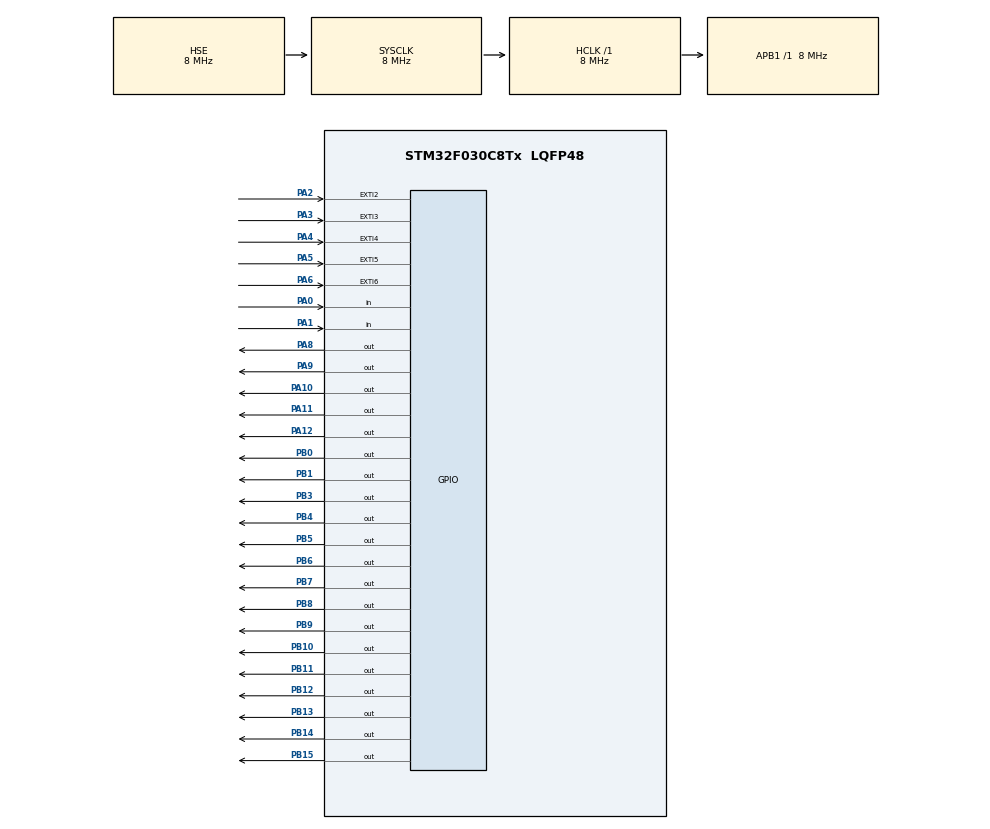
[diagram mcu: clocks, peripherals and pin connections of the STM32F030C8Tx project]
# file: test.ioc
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Mcu.Family=STM32F0
Mcu.Name=STM32F030C8Tx
Mcu.Package=LQFP48
NVIC.EXTI2_3_IRQn=true\:0\:0\:true\:false\:true\:true\:true
NVIC.EXTI4_15_IRQn=true\:0\:0\:true\:false\:true\:true\:true
NVIC.TIM3_IRQn=true\:0\:0\:true\:false\:true\:true\:true
NVIC.TIM6_IRQn=true\:0\:0\:true\:false\:true\:true\:true
PA0.GPIO_PuPd=GPIO_PULLDOWN
PA0.Signal=GPIO_Input
PA1.GPIO_PuPd=GPIO_PULLDOWN
PA1.Signal=GPIO_Input
PA10.GPIO_PuPd=GPIO_NOPULL
PA10.GPIO_Speed=GPIO_SPEED_FREQ_MEDIUM
PA10.Signal=GPIO_Output
PA11.GPIO_PuPd=GPIO_PULLDOWN
PA11.GPIO_Speed=GPIO_SPEED_FREQ_MEDIUM
PA11.Signal=GPIO_Output
PA12.GPIO_PuPd=GPIO_PULLDOWN
PA12.GPIO_Speed=GPIO_SPEED_FREQ_MEDIUM
PA12.Signal=GPIO_Output
PA13.Mode=Serial_Wire
PA13.Signal=SYS_SWDIO
PA14.Mode=Serial_Wire
PA14.Signal=SYS_SWCLK
PA2.GPIO_ModeDefaultEXTI=GPIO_MODE_IT_RISING_FALLING
PA2.GPIO_PuPd=GPIO_NOPULL
PA2.Signal=GPXTI2
PA3.GPIO_ModeDefaultEXTI=GPIO_MODE_IT_RISING_FALLING
PA3.Signal=GPXTI3
PA4.GPIO_ModeDefaultEXTI=GPIO_MODE_IT_RISING_FALLING
PA4.Signal=GPXTI4
PA5.GPIO_ModeDefaultEXTI=GPIO_MODE_IT_RISING_FALLING
PA5.Signal=GPXTI5
PA6.GPIO_ModeDefaultEXTI=GPIO_MODE_IT_RISING_FALLING
PA6.Signal=GPXTI6
PA8.GPIO_PuPd=GPIO_NOPULL
PA8.GPIO_Speed=GPIO_SPEED_FREQ_MEDIUM
PA8.PinState=GPIO_PIN_RESET
PA8.Signal=GPIO_Output
PA9.GPIO_PuPd=GPIO_NOPULL
PA9.GPIO_Speed=GPIO_SPEED_FREQ_MEDIUM
PA9.Signal=GPIO_Output
PB0.GPIO_Speed=GPIO_SPEED_FREQ_LOW
PB0.PinState=GPIO_PIN_SET
PB0.Signal=GPIO_Output
PB1.PinState=GPIO_PIN_SET
PB1.Signal=GPIO_Output
PB10.PinState=GPIO_PIN_SET
PB10.Signal=GPIO_Output
PB11.Signal=GPIO_Output
PB12.Signal=GPIO_Output
PB13.Signal=GPIO_Output
PB14.GPIO_PuPd=GPIO_NOPULL
PB14.GPIO_Speed=GPIO_SPEED_FREQ_LOW
PB14.Signal=GPIO_Output
PB15.GPIO_PuPd=GPIO_NOPULL
PB15.GPIO_Speed=GPIO_SPEED_FREQ_LOW
PB15.Signal=GPIO_Output
PB3.PinState=GPIO_PIN_SET
PB3.Signal=GPIO_Output
PB4.PinState=GPIO_PIN_SET
PB4.Signal=GPIO_Output
PB5.PinState=GPIO_PIN_SET
PB5.Signal=GPIO_Output
PB6.PinState=GPIO_PIN_SET
PB6.Signal=GPIO_Output
PB7.PinState=GPIO_PIN_SET
PB7.Signal=GPIO_Output
PB8.PinState=GPIO_PIN_SET
PB8.Signal=GPIO_Output
PB9.PinState=GPIO_PIN_SET
PB9.Signal=GPIO_Output
PF0-OSC_IN.Mode=HSE-External-Oscillator
PF0-OSC_IN.Signal=RCC_OSC_IN
PF1-OSC_OUT.Mode=HSE-External-Oscillator
PF1-OSC_OUT.Signal=RCC_OSC_OUT
ProjectManager.HeapSize=0x200
ProjectManager.StackSize=0x400
ProjectManager.TargetToolchain=STM32CubeIDE
RCC.AHBFreq_Value=8000000
RCC.APB1Freq_Value=8000000
RCC.APB1TimFreq_Value=8000000
RCC.HCLKFreq_Value=8000000
RCC.PLLMUL=RCC_PLL_MUL4
RCC.SYSCLKFreq_VALUE=8000000
RCC.SYSCLKSource=RCC_SYSCLKSOURCE_HSE
TIM3.Period=9
TIM3.Prescaler=799
TIM6.Period=1000
TIM6.Prescaler=8000
VP_TIM3_VS_ClockSourceINT.Mode=Internal
VP_TIM6_VS_ClockSourceINT.Mode=Enable_Timer
board=custom

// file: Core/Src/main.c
/* USER CODE BEGIN Header */
/**
  ******************************************************************************
  * @file           : main.c
  * @brief          : Main program body
  ******************************************************************************
  * @attention
  *
  * <h2><center>&copy; Copyright (c) 2020 STMicroelectronics.
  * All rights reserved.</center></h2>
  *
  * This software component is licensed by ST under BSD 3-Clause license,
  * the "License"; You may not use this file except in compliance with the
  * License. You may obtain a copy of the License at:
  *                        opensource.org/licenses/BSD-3-Clause
  *
  ******************************************************************************
  */
/* USER CODE END Header */

#include "main.h"

/* USER CODE BEGIN Includes */
#include  "stm32f0xx_it.h"
#include "controller.h"
/* USER CODE END Includes */

TIM_HandleTypeDef htim3;
TIM_HandleTypeDef htim6;

/* USER CODE BEGIN PV */

extern uint8_t clr_button_flag;
extern uint8_t ocb_button_flag;
extern uint8_t ro_button_flag;
extern uint8_t cto_button_flag;
extern uint8_t pp1_button_flag;
extern uint8_t water_input_flag;
extern uint8_t pump_status_flag;
extern uint8_t end_display_flag;
extern uint8_t seven_segment_switch_flag;
extern uint8_t led_fan_flag;
extern uint8_t led_tank_full_flag;
extern uint8_t led_tank_full_flag_off;
extern uint8_t blink_flag;
extern uint8_t lock_end_dislay_flag;
extern uint8_t out_time_machine_flag;
extern uint8_t PP_Out_Time_Flag;
extern uint8_t OCB_Out_Time_Flag;
extern uint8_t CTO_Out_Time_Flag;
extern uint8_t RO_Out_Time_Flag;
extern uint8_t erro_dislay_flag_off;
extern uint8_t watch_Dog_Flag;

extern uint8_t dislay_erro_trigger;
extern uint8_t PP_Out_Time_Flag_off;
extern uint8_t PP_Out_Time_Trigger_off;
extern uint8_t OCB_Out_Time_Flag_off;
extern uint8_t OCB_Out_Time_Trigger_off;
extern uint8_t CTO_Out_Time_Flag_off;
extern uint8_t CTO_Out_Time_Trigger_off;
extern uint8_t RO_Out_Time_Flag_off;
extern uint8_t RO_Out_Time_Trigger_off;
extern uint8_t Machine_Time_Flag_off;
extern uint8_t Machine_Time_Trigger_off;
extern uint8_t Water_low_trigger_off;
extern uint8_t Water_low_Flag_off;
extern uint8_t erro_dislay_trigger;
extern uint8_t watch_Dog_Trigger;
extern uint8_t watch_Dog_Flag;
extern uint8_t out_time_machine_trigger;
extern uint8_t Write_Flash_flag;

uint32_t 	RO_time  ;
uint32_t 	CTO_time ;
uint32_t	PP1_time ;
uint32_t	OCB_time ;
uint32_t    Machine_time_run;
uint32_t	write_data;
uint8_t		CTO_time_p[3];
uint8_t 	RO_time_p[3];
uint8_t		PP1_time_p[3];
uint8_t		OCB_time_p[3];
uint8_t 	dislay_status_erro_cnt;

GPIO_TypeDef *(fan_led_port[10])={
	LED_C1_PORT,
	LED_C2_PORT,
	LED_C3_PORT,
	LED_C4_PORT,
	LED_C5_PORT,
	LED_C6_PORT,
	LED_C7_PORT,
	LED_C8_PORT,
	LED_C9_PORT,
	LED_C10_PORT
};

uint32_t fan_led_pin[10]={
	LED_C1_PIN,
	LED_C2_PIN,
	LED_C3_PIN,
	LED_C4_PIN,
	LED_C5_PIN,
	LED_C6_PIN,
	LED_C7_PIN,
	LED_C8_PIN,
	LED_C9_PIN,
	LED_C10_PIN
};
/* USER CODE END PV */

void SystemClock_Config(void);
static void MX_GPIO_Init(void);
static void MX_TIM3_Init(void);
static void MX_TIM6_Init(void);
/* USER CODE BEGIN PFP */
void display(void);
void on_end_display(uint8_t*);
void display_erro(void);
void led_fan_action(uint8_t*);
void led_tanks_full(void);
void out_time_fillter(void);
void clear_timer_fillter(void);
void write_Flash_Timer(void);

/* USER CODE END PFP */

/* USER CODE BEGIN 0 */
uint8_t test[3]={L_L,L_O,L_I};
uint8_t ro_alarm[3]={L_BLANK,L_R,L_O};
uint8_t out_time_Machine[3]={L_C, L_FIVE, L_H};
uint8_t out_time_PP[3]={L_P, L_P, L_ONE};
uint8_t out_time_ocb[3] = {L_U, L_D, L_F};
uint8_t out_time_cto[3] = {L_P, L_P, L_TWO};
uint8_t out_time_ro[3] = {L_R, L_O, L_BLANK};
uint8_t	blank_time[3] = {L_BLANK, L_BLANK, L_BLANK};

void check_out_time_machine(){
	if((out_time_machine_trigger)&&(HAL_GPIO_ReadPin(PUMP_STATUS_PORT, PUMP_STATUS_PIN))){
			Machine_time_run ++;
			out_time_machine_trigger = 0 ;
			write_data ++;

		}else
		if((!HAL_GPIO_ReadPin(PUMP_STATUS_PORT, PUMP_STATUS_PIN))){
			(Machine_time_run = 0);
			out_time_machine_trigger =0;
	}
}
// write da sua phai lai xem co lưu khong !!!
void write_Flash_Timer(){
	if (Write_Flash_flag&&((!HAL_GPIO_ReadPin(PUMP_STATUS_PORT, PUMP_STATUS_PIN)||(write_data==30)))){

		Write_Flash_flag = 0;
		write_data =0;
		Ghi_data(0x08007000, 0x08007FFF);

	}

}
void display (){
	if (cto_button_flag) {
		erro_dislay_trigger = 0;
//		CTO_time_p = time_to_array(CTO_time);
		Controller_Display_Mess(CTO_time_p,&seven_segment_switch_flag,&end_display_flag);
	}else if(ro_button_flag){

//		RO_time_p = time_to_array(RO_time);
		erro_dislay_trigger = 0;
		Controller_Display_Mess(RO_time_p,&seven_segment_switch_flag,&end_display_flag);
	}else if (ocb_button_flag) {

//		OCB_time_p = time_to_array(OCB_time);
		erro_dislay_trigger = 0;
		Controller_Display_Mess(OCB_time_p,&seven_segment_switch_flag,&end_display_flag);
	}else if (pp1_button_flag) {

//		PP1_time_p = time_to_array(PP1_time);
		erro_dislay_trigger = 0;
		Controller_Display_Mess(PP1_time_p, &seven_segment_switch_flag,&end_display_flag);
	}
}

void clear_timer_fillter(){
	if(clr_button_flag&&pp1_button_flag) {
			if((HAL_GPIO_ReadPin(PP1_BUTTON_PORT, PP1_BUTTON_PIN))&& (HAL_GPIO_ReadPin(CLR_BUTTON_PORT, CLR_BUTTON_PIN))){
				PP1_time = 0;
				clr_button_flag =0;
				pp1_button_flag =0;
				time_to_array(PP1_time,PP1_time_p);
				Ghi_data(0x08007000, 0x08007FFF);

			}
		}
	if(clr_button_flag&&ocb_button_flag) {
				if((HAL_GPIO_ReadPin(OCB_BUTTON_PORT, OCB_BUTTON_PIN))&& (HAL_GPIO_ReadPin(CLR_BUTTON_PORT, CLR_BUTTON_PIN))){
					OCB_time = 0;
					clr_button_flag = 0;
					ocb_button_flag = 0;
					time_to_array(OCB_time,OCB_time_p);
					Ghi_data(0x08007000, 0x08007FFF);

				}
		}
	if(clr_button_flag&&cto_button_flag) {
				if((HAL_GPIO_ReadPin(CTO_BUTTON_PORT, CTO_BUTTON_PIN))&& (HAL_GPIO_ReadPin(CLR_BUTTON_PORT, CLR_BUTTON_PIN))){
					CTO_time = 0;
					cto_button_flag =0;
					clr_button_flag =0;
					time_to_array(CTO_time,CTO_time_p);
					Ghi_data(0x08007000, 0x08007FFF);

				}
		}
	if(clr_button_flag&&ro_button_flag) {
				if((HAL_GPIO_ReadPin(RO_BUTTON_PORT, RO_BUTTON_PIN))&& (HAL_GPIO_ReadPin(CLR_BUTTON_PORT, CLR_BUTTON_PIN))){
					RO_time = 0;
					ro_button_flag=0;
					clr_button_flag = 0;
					time_to_array(RO_time,RO_time_p);
					Ghi_data(0x08007000, 0x08007FFF);

				}
		}
}

void display_erro (){

	if  ((HAL_GPIO_ReadPin(WARTER_INPUT_PORT, WARTER_INPUT_PIN))) {
					water_input_flag=0;
					water_input_flag =0;
					Water_low_Flag_off =0;
					Water_low_trigger_off =0;
				}

		if ((PP_Out_Time_Flag)&&!(pp1_button_flag||ocb_button_flag||cto_button_flag||ro_button_flag)){
					PP_Out_Time_Trigger_off =1;
					end_display_flag =0;
				Controller_Display_Mess(out_time_PP, &seven_segment_switch_flag,&end_display_flag);
				if (PP_Out_Time_Flag_off){
					PP_Out_Time_Flag =0;
					PP_Out_Time_Trigger_off=0;
					PP_Out_Time_Flag_off = 0;
				}
			}

		if ((!(PP_Out_Time_Flag))&&(OCB_Out_Time_Flag)&&!(pp1_button_flag||ocb_button_flag||cto_button_flag||ro_button_flag)){
					OCB_Out_Time_Trigger_off =1;
					end_display_flag =0;
				Controller_Display_Mess(out_time_ocb, &seven_segment_switch_flag,&end_display_flag);
				if (OCB_Out_Time_Flag_off){
					OCB_Out_Time_Flag =0;
					OCB_Out_Time_Trigger_off=0;
					OCB_Out_Time_Flag_off = 0;
				}
			}

		if ((!OCB_Out_Time_Flag)&&(!PP_Out_Time_Flag)&&(CTO_Out_Time_Flag)&&!(pp1_button_flag||ocb_button_flag||cto_button_flag||ro_button_flag)){
					end_display_flag =0;
					CTO_Out_Time_Trigger_off =1;
				Controller_Display_Mess(out_time_cto, &seven_segment_switch_flag,&end_display_flag);
				if (CTO_Out_Time_Flag_off){
					CTO_Out_Time_Flag =0;
					CTO_Out_Time_Trigger_off=0;
					CTO_Out_Time_Flag_off = 0;
					}
				}

		if ((!OCB_Out_Time_Flag)&&(!PP_Out_Time_Flag)&&(!CTO_Out_Time_Flag)&&(RO_Out_Time_Flag)&&!(pp1_button_flag||ocb_button_flag||cto_button_flag||ro_button_flag)){
					RO_Out_Time_Trigger_off =1;
					end_display_flag =0;
				Controller_Display_Mess(out_time_ro, &seven_segment_switch_flag,&end_display_flag);
				if (RO_Out_Time_Flag_off){
					RO_Out_Time_Flag =0;
					RO_Out_Time_Trigger_off=0;
					RO_Out_Time_Flag_off = 0;
				}
			}

		if ((!OCB_Out_Time_Flag)&&(!PP_Out_Time_Flag)&&(!CTO_Out_Time_Flag)&&(!RO_Out_Time_Flag)&&water_input_flag&&!(pp1_button_flag||ocb_button_flag||cto_button_flag||ro_button_flag)) {
							Water_low_trigger_off = 1;
							end_display_flag = 0;
					Controller_Display_Mess(test,&seven_segment_switch_flag,&end_display_flag);
						if (Water_low_Flag_off) {
							water_input_flag =0;
							Water_low_Flag_off =0;
							Water_low_trigger_off =0;
						}
					}

		if ((!OCB_Out_Time_Flag)&&(!water_input_flag)&&(!PP_Out_Time_Flag)&&(!CTO_Out_Time_Flag)&&(!RO_Out_Time_Flag)&&out_time_machine_flag&&!(pp1_button_flag||ocb_button_flag||cto_button_flag||ro_button_flag)) {
						Machine_Time_Trigger_off = 1;
						end_display_flag = 0;

				Controller_Display_Mess(out_time_Machine,&seven_segment_switch_flag,&end_display_flag);
				if (Machine_Time_Flag_off){
						out_time_machine_flag = 0;
						Machine_Time_Trigger_off = 0;
						Machine_Time_Flag_off = 0;
				}
			}
		if ((!OCB_Out_Time_Flag)&&(!water_input_flag)&&(!PP_Out_Time_Flag)&&(!CTO_Out_Time_Flag)&&(!RO_Out_Time_Flag)&&(!out_time_machine_flag)&&!
								(pp1_button_flag||ocb_button_flag||cto_button_flag||ro_button_flag)){
					erro_dislay_trigger = 1;
				on_end_display(&erro_dislay_trigger); /// sua thanh ghi
				if (erro_dislay_flag_off){
						erro_dislay_trigger =0;
						erro_dislay_flag_off = 0;
			}
		}
}

void out_time_fillter(){
	 if ((RO_time >= OVER_TIME_RO )&&(!dislay_erro_trigger)){
		 RO_Out_Time_Flag = 1;
	 }

	 if ((CTO_time >= OVER_TIME_CTO)&&(!dislay_erro_trigger)) {
		CTO_Out_Time_Flag = 1;
	}

	 if ((OCB_time >= OVER_TIME_OCB)&&(!dislay_erro_trigger)) {
		OCB_Out_Time_Flag =1 ;
	}

	if ((PP1_time >= OVER_TIME_pp1)&&(!dislay_erro_trigger)) {
		PP_Out_Time_Flag = 1;

	}
	/// thoi gian Chay qua thoi gian
	if((Machine_time_run >=300)&&(!dislay_erro_trigger)){
		out_time_machine_flag = 1;

	}
	if ((!HAL_GPIO_ReadPin(WARTER_INPUT_PORT, WARTER_INPUT_PIN))&&(!dislay_erro_trigger)) {
		water_input_flag =1;
	}
	if (RO_Out_Time_Flag||CTO_Out_Time_Flag||OCB_Out_Time_Flag||PP_Out_Time_Flag||water_input_flag||out_time_machine_flag||erro_dislay_trigger){
			dislay_erro_trigger =1;
		if (!(ro_button_flag||cto_button_flag||ocb_button_flag||pp1_button_flag)) {
			lock_end_dislay_flag = 0;
		}else {
			lock_end_dislay_flag = 1;
		}
	}else {
		dislay_erro_trigger =0;
		lock_end_dislay_flag = 1;
	}
 }
void on_end_display(uint8_t *flag){
	if(*flag){
		HAL_GPIO_WritePin(LED7_3_PORT, LED7_3_PIN, 0);
		HAL_GPIO_WritePin(LED7_2_PORT, LED7_2_PIN, 0);
		HAL_GPIO_WritePin(LED7_1_PORT, LED7_1_PIN, 0);
		*flag = 0;
		lock_end_dislay_flag = 0;
		ro_button_flag = cto_button_flag = ocb_button_flag = pp1_button_flag =0;

//		free(PP1_time_p);
//		free(OCB_time_p);
//		free(CTO_time_p);
//		free(RO_time_p);

	}
}

void led_fan_action(uint8_t* led_fan_flag){
	static int counting;
	static int fw_done;
	if ( (fw_done==0)&&(counting < 10)) {
		if (*led_fan_flag) {

			HAL_GPIO_WritePin(fan_led_port[counting], fan_led_pin[counting], 0);
			*led_fan_flag=0;
			HAL_GPIO_WritePin(fan_led_port[counting], fan_led_pin[counting-3], 1);
			counting++;

		}
		if(counting==10){
			fw_done=1;
			counting=0;
		}
	}
	if ((fw_done==1)&&(counting < 10)) {
		if (*led_fan_flag) {
			HAL_GPIO_WritePin(fan_led_port[9-counting], fan_led_pin[9-counting], 1);
			*led_fan_flag=0;
			counting++;

		}
		if(counting==10){
			fw_done=0;
			counting=0;
		}
	}
}

void led_tanks_full( ){
	if (led_tank_full_flag_off){

				HAL_GPIO_WritePin(LED_C1_PORT, LED_C1_PIN, 1);
				HAL_GPIO_WritePin(LED_C2_PORT, LED_C2_PIN, 1);
				HAL_GPIO_WritePin(LED_C3_PORT, LED_C3_PIN, 1);
				HAL_GPIO_WritePin(LED_C4_PORT, LED_C4_PIN, 1);
				HAL_GPIO_WritePin(LED_C5_PORT, LED_C5_PIN, 1);
				HAL_GPIO_WritePin(LED_C6_PORT, LED_C6_PIN, 1);
				HAL_GPIO_WritePin(LED_C7_PORT, LED_C7_PIN, 1);
				HAL_GPIO_WritePin(LED_C8_PORT, LED_C8_PIN, 1);
				HAL_GPIO_WritePin(LED_C9_PORT, LED_C9_PIN, 1);
				HAL_GPIO_WritePin(LED_C10_PORT, LED_C10_PIN, 1);

		}

	if (led_tank_full_flag) {

				HAL_GPIO_WritePin(LED_C1_PORT, LED_C1_PIN, 0);
				HAL_GPIO_WritePin(LED_C2_PORT, LED_C2_PIN, 0);
				HAL_GPIO_WritePin(LED_C3_PORT, LED_C3_PIN, 0);
				HAL_GPIO_WritePin(LED_C4_PORT, LED_C4_PIN, 0);
				HAL_GPIO_WritePin(LED_C5_PORT, LED_C5_PIN, 0);
				HAL_GPIO_WritePin(LED_C6_PORT, LED_C6_PIN, 0);
				HAL_GPIO_WritePin(LED_C7_PORT, LED_C7_PIN, 0);
				HAL_GPIO_WritePin(LED_C8_PORT, LED_C8_PIN, 0);
				HAL_GPIO_WritePin(LED_C9_PORT, LED_C9_PIN, 0);
				HAL_GPIO_WritePin(LED_C10_PORT, LED_C10_PIN, 0);
		}
	}

/* USER CODE END 0 */

int main(void)
{

  /* MCU Configuration--------------------------------------------------------*/

  /* Reset of all peripherals, Initializes the Flash interface and the Systick. */
  HAL_Init();

  /* Configure the system clock */
  SystemClock_Config();

  /* Initialize all configured peripherals */
  MX_GPIO_Init();
  MX_TIM3_Init();
  MX_TIM6_Init();
  /* USER CODE BEGIN 2 */
  	  	  HAL_TIM_Base_Start_IT(&htim3);
  	  	  HAL_TIM_Base_Start_IT(&htim6);

  	  	  PP1_time = read_Flash((0x08007000));
  	  	  OCB_time = read_Flash((0x08007000+4));
  	  	  CTO_time = read_Flash((0x08007000+8));
  	  	  RO_time = read_Flash((0x08007000+12));
  	  	  if(HAL_GPIO_ReadPin(PUMP_STATUS_PORT, PUMP_STATUS_PIN)){
  	  		  Machine_time_run = read_Flash((0x08007000+16));
  	  	  }

  		time_to_array(PP1_time,PP1_time_p);
  		time_to_array(OCB_time,OCB_time_p);
  		time_to_array(CTO_time,CTO_time_p);
  		time_to_array(RO_time,RO_time_p);

  	  	HAL_GPIO_WritePin(LED7_A_PORT, LED7_A_PIN, GPIO_PIN_SET);
  	  		HAL_GPIO_WritePin(LED7_B_PORT, LED7_B_PIN, GPIO_PIN_SET);
  	  		HAL_GPIO_WritePin(LED7_C_PORT, LED7_C_PIN, GPIO_PIN_SET);
  	  		HAL_GPIO_WritePin(LED7_D_PORT, LED7_D_PIN, GPIO_PIN_SET);
  	  		HAL_GPIO_WritePin(LED7_E_PORT, LED7_E_PIN, GPIO_PIN_SET);
  	  		HAL_GPIO_WritePin(LED7_F_PORT, LED7_F_PIN, GPIO_PIN_SET);
  	  		HAL_GPIO_WritePin(LED7_G_PORT, LED7_G_PIN, GPIO_PIN_SET);

  	  	HAL_GPIO_WritePin(LED7_1_PORT, LED7_1_PIN, GPIO_PIN_SET);
  	  	HAL_Delay(500);
  	  	HAL_GPIO_WritePin(LED7_2_PORT, LED7_2_PIN, GPIO_PIN_SET);
  	  HAL_GPIO_WritePin(LED7_1_PORT, LED7_1_PIN, GPIO_PIN_RESET);
  	  	HAL_Delay(500);
  	  	HAL_GPIO_WritePin(LED7_3_PORT, LED7_3_PIN, GPIO_PIN_SET);
  	  HAL_GPIO_WritePin(LED7_2_PORT, LED7_2_PIN, GPIO_PIN_RESET);
  	  	HAL_Delay(500);
  	  HAL_GPIO_WritePin(LED7_3_PORT, LED7_3_PIN, GPIO_PIN_RESET);
  	  HAL_GPIO_WritePin(LED7_A_PORT, LED7_A_PIN, GPIO_PIN_RESET);
  	  	 HAL_GPIO_WritePin(LED7_B_PORT, LED7_B_PIN, GPIO_PIN_RESET);
  	   HAL_GPIO_WritePin(LED7_C_PORT, LED7_C_PIN, GPIO_PIN_RESET);
  	   HAL_GPIO_WritePin(LED7_D_PORT, LED7_D_PIN, GPIO_PIN_RESET);
  	   HAL_GPIO_WritePin(LED7_E_PORT, LED7_E_PIN, GPIO_PIN_RESET);
  	   HAL_GPIO_WritePin(LED7_F_PORT, LED7_F_PIN, GPIO_PIN_RESET);
  	   HAL_GPIO_WritePin(LED7_G_PORT, LED7_G_PIN, GPIO_PIN_RESET);
  	 HAL_Delay(500);

//  	  	  watch_Dog_Trigger = 1;
//  	  	  IWDG->KR = 0xAAAA; // Writing 0xAAAA in the Key register prevents watchdog reset
//  	  	  IWDG->KR = 0xCCCC; // Start the independent watchdog timer

  /* USER CODE END 2 */

  /* Infinite loop */
  while (1)
  {

    /* USER CODE BEGIN 3 */
//	  if(watch_Dog_Flag)
//	 	  		{
//
//	 	  			IWDG->KR = 0xAAAA;
//	 	  			watch_Dog_Flag = 0;
//	 	  		}

	  if (Write_Flash_flag){
		  led_tank_full_flag =0;
		  led_tank_full_flag_off =0;
	  }
	  out_time_fillter();
	  increase_time(&pump_status_flag);
	  display();
	  display_erro();
	  on_end_display(&end_display_flag);
  	  led_fan_action(&led_fan_flag);
	  led_tanks_full();
	  clear_timer_fillter();
	  check_out_time_machine();
//	  if(watch_Dog_Flag){
//	  HAL_WWDG_Refresh(&hwwdg);
//	  watch_Dog_Flag =0;
//	  }
	  write_Flash_Timer();

  }
  /* USER CODE END 3 */
}

void SystemClock_Config(void)
{
  RCC_OscInitTypeDef RCC_OscInitStruct = {0};
  RCC_ClkInitTypeDef RCC_ClkInitStruct = {0};

  /** Initializes the CPU, AHB and APB busses clocks
  */
  RCC_OscInitStruct.OscillatorType = RCC_OSCILLATORTYPE_HSE;
  RCC_OscInitStruct.HSEState = RCC_HSE_ON;
  RCC_OscInitStruct.PLL.PLLState = RCC_PLL_NONE;
  if (HAL_RCC_OscConfig(&RCC_OscInitStruct) != HAL_OK)
  {
    Error_Handler();
  }
  /** Initializes the CPU, AHB and APB busses clocks
  */
  RCC_ClkInitStruct.ClockType = RCC_CLOCKTYPE_HCLK|RCC_CLOCKTYPE_SYSCLK
                              |RCC_CLOCKTYPE_PCLK1;
  RCC_ClkInitStruct.SYSCLKSource = RCC_SYSCLKSOURCE_HSE;
  RCC_ClkInitStruct.AHBCLKDivider = RCC_SYSCLK_DIV1;
  RCC_ClkInitStruct.APB1CLKDivider = RCC_HCLK_DIV1;

  if (HAL_RCC_ClockConfig(&RCC_ClkInitStruct, FLASH_LATENCY_0) != HAL_OK)
  {
    Error_Handler();
  }
}

static void MX_TIM3_Init(void)
{

  TIM_ClockConfigTypeDef sClockSourceConfig = {0};
  TIM_MasterConfigTypeDef sMasterConfig = {0};

  htim3.Instance = TIM3;
  htim3.Init.Prescaler = 799;
  htim3.Init.CounterMode = TIM_COUNTERMODE_UP;
  htim3.Init.Period = 9;
  htim3.Init.ClockDivision = TIM_CLOCKDIVISION_DIV1;
  htim3.Init.AutoReloadPreload = TIM_AUTORELOAD_PRELOAD_DISABLE;
  if (HAL_TIM_Base_Init(&htim3) != HAL_OK)
  {
    Error_Handler();
  }
  sClockSourceConfig.ClockSource = TIM_CLOCKSOURCE_INTERNAL;
  if (HAL_TIM_ConfigClockSource(&htim3, &sClockSourceConfig) != HAL_OK)
  {
    Error_Handler();
  }
  sMasterConfig.MasterOutputTrigger = TIM_TRGO_RESET;
  sMasterConfig.MasterSlaveMode = TIM_MASTERSLAVEMODE_DISABLE;
  if (HAL_TIMEx_MasterConfigSynchronization(&htim3, &sMasterConfig) != HAL_OK)
  {
    Error_Handler();
  }

}

static void MX_TIM6_Init(void)
{

  htim6.Instance = TIM6;
  htim6.Init.Prescaler = 8000;
  htim6.Init.CounterMode = TIM_COUNTERMODE_UP;
  htim6.Init.Period = 1000;
  htim6.Init.AutoReloadPreload = TIM_AUTORELOAD_PRELOAD_DISABLE;
  if (HAL_TIM_Base_Init(&htim6) != HAL_OK)
  {
    Error_Handler();
  }

}

static void MX_GPIO_Init(void)
{
  GPIO_InitTypeDef GPIO_InitStruct = {0};

  /* GPIO Ports Clock Enable */
  __HAL_RCC_GPIOF_CLK_ENABLE();
  __HAL_RCC_GPIOA_CLK_ENABLE();
  __HAL_RCC_GPIOB_CLK_ENABLE();

  /*Configure GPIO pin Output Level */
  HAL_GPIO_WritePin(GPIOB, GPIO_PIN_0|GPIO_PIN_1|GPIO_PIN_10|GPIO_PIN_3
                          |GPIO_PIN_4|GPIO_PIN_5|GPIO_PIN_6|GPIO_PIN_7
                          |GPIO_PIN_8|GPIO_PIN_9, GPIO_PIN_SET);

  /*Configure GPIO pin Output Level */
  HAL_GPIO_WritePin(GPIOB, GPIO_PIN_11|GPIO_PIN_12|GPIO_PIN_13|GPIO_PIN_14
                          |GPIO_PIN_15, GPIO_PIN_RESET);

  /*Configure GPIO pin Output Level */
  HAL_GPIO_WritePin(GPIOA, GPIO_PIN_8|GPIO_PIN_9|GPIO_PIN_10|GPIO_PIN_11
                          |GPIO_PIN_12, GPIO_PIN_RESET);

  /*Configure GPIO pins : PA0 PA1 */
  GPIO_InitStruct.Pin = GPIO_PIN_0|GPIO_PIN_1;
  GPIO_InitStruct.Mode = GPIO_MODE_INPUT;
  GPIO_InitStruct.Pull = GPIO_PULLDOWN;
  HAL_GPIO_Init(GPIOA, &GPIO_InitStruct);

  /*Configure GPIO pins : PA2 PA3 PA4 PA5
                           PA6 */
  GPIO_InitStruct.Pin = GPIO_PIN_2|GPIO_PIN_3|GPIO_PIN_4|GPIO_PIN_5
                          |GPIO_PIN_6;
  GPIO_InitStruct.Mode = GPIO_MODE_IT_RISING_FALLING;
  GPIO_InitStruct.Pull = GPIO_NOPULL;
  HAL_GPIO_Init(GPIOA, &GPIO_InitStruct);

  /*Configure GPIO pins : PB0 PB1 PB10 PB11
                           PB12 PB13 PB14 PB15
                           PB3 PB4 PB5 PB6
                           PB7 PB8 PB9 */
  GPIO_InitStruct.Pin = GPIO_PIN_0|GPIO_PIN_1|GPIO_PIN_10|GPIO_PIN_11
                          |GPIO_PIN_12|GPIO_PIN_13|GPIO_PIN_14|GPIO_PIN_15
                          |GPIO_PIN_3|GPIO_PIN_4|GPIO_PIN_5|GPIO_PIN_6
                          |GPIO_PIN_7|GPIO_PIN_8|GPIO_PIN_9;
  GPIO_InitStruct.Mode = GPIO_MODE_OUTPUT_PP;
  GPIO_InitStruct.Pull = GPIO_NOPULL;
  GPIO_InitStruct.Speed = GPIO_SPEED_FREQ_LOW;
  HAL_GPIO_Init(GPIOB, &GPIO_InitStruct);

  /*Configure GPIO pins : PA8 PA9 PA10 */
  GPIO_InitStruct.Pin = GPIO_PIN_8|GPIO_PIN_9|GPIO_PIN_10;
  GPIO_InitStruct.Mode = GPIO_MODE_OUTPUT_PP;
  GPIO_InitStruct.Pull = GPIO_NOPULL;
  GPIO_InitStruct.Speed = GPIO_SPEED_FREQ_MEDIUM;
  HAL_GPIO_Init(GPIOA, &GPIO_InitStruct);

  /*Configure GPIO pins : PA11 PA12 */
  GPIO_InitStruct.Pin = GPIO_PIN_11|GPIO_PIN_12;
  GPIO_InitStruct.Mode = GPIO_MODE_OUTPUT_PP;
  GPIO_InitStruct.Pull = GPIO_PULLDOWN;
  GPIO_InitStruct.Speed = GPIO_SPEED_FREQ_MEDIUM;
  HAL_GPIO_Init(GPIOA, &GPIO_InitStruct);

  /* EXTI interrupt init*/
  HAL_NVIC_SetPriority(EXTI2_3_IRQn, 0, 0);
  HAL_NVIC_EnableIRQ(EXTI2_3_IRQn);

  HAL_NVIC_SetPriority(EXTI4_15_IRQn, 0, 0);
  HAL_NVIC_EnableIRQ(EXTI4_15_IRQn);

}

void Error_Handler(void)
{
}

/************************ (C) COPYRIGHT STMicroelectronics *****END OF FILE****/
